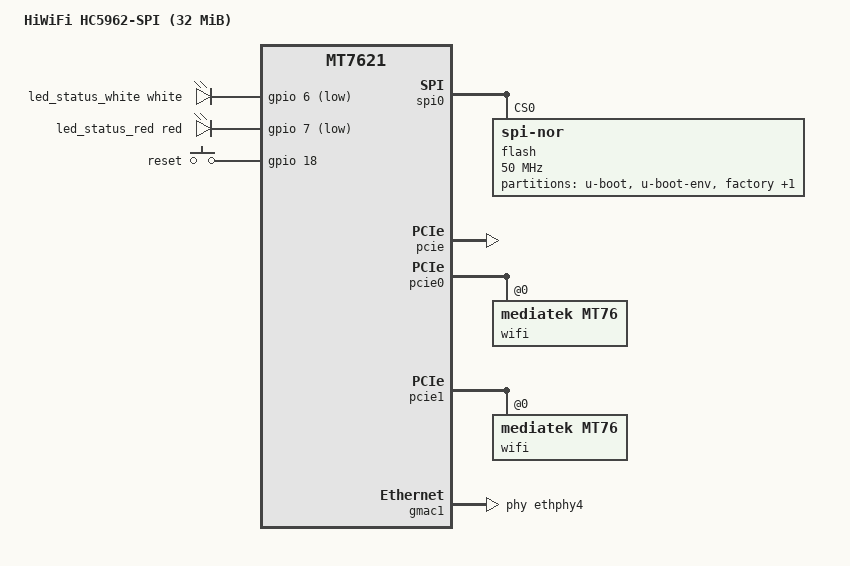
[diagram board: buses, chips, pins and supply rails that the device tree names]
/*
 * Derived from the official HC5962 DTS at OpenWrt commit
 * 5700101d7c85381889d890dc1d3d001d0b4b6446.
 *
 * Hardware validation is pending. This SPI-NOR conversion assumes a 32 MiB
 * flash with the existing bootloader at 0x0, environment at 0x30000, factory
 * data at 0x40000, and firmware at 0x50000. The factory EEPROM/MAC offsets
 * below follow the legacy HC5962 SPI port, not the original NAND layout.
 */

#include "mt7621.dtsi"

#include <dt-bindings/gpio/gpio.h>
#include <dt-bindings/input/input.h>
#include <dt-bindings/leds/common.h>

/ {
	compatible = "hiwifi,hc5962-spi", "mediatek,mt7621-soc";
	model = "HiWiFi HC5962-SPI (32 MiB)";

	aliases {
		label-mac-device = &gmac0;
		led-boot = &led_status_red;
		led-failsafe = &led_status_red;
		led-running = &led_status_white;
		led-upgrade = &led_status_white;
	};

	chosen {
		bootargs = "console=ttyS0,115200";
	};

	leds {
		compatible = "gpio-leds";

		led_status_white: led-0 {
			color = <LED_COLOR_ID_WHITE>;
			function = LED_FUNCTION_STATUS;
			gpios = <&gpio 6 GPIO_ACTIVE_LOW>;
		};

		led_status_red: led-1 {
			color = <LED_COLOR_ID_RED>;
			function = LED_FUNCTION_STATUS;
			gpios = <&gpio 7 GPIO_ACTIVE_LOW>;
			panic-indicator;
		};
	};

	keys {
		compatible = "gpio-keys";

		reset {
			label = "reset";
			gpios = <&gpio 18 GPIO_ACTIVE_HIGH>;
			linux,code = <KEY_RESTART>;
		};
	};
};

&nand {
	status = "disabled";
};

&spi0 {
	status = "okay";

	flash@0 {
		compatible = "jedec,spi-nor";
		reg = <0>;
		spi-max-frequency = <50000000>;
		broken-flash-reset;

		partitions {
			compatible = "fixed-partitions";
			#address-cells = <1>;
			#size-cells = <1>;

			partition@0 {
				label = "u-boot";
				reg = <0x0 0x30000>;
				read-only;
			};

			partition@30000 {
				label = "u-boot-env";
				reg = <0x30000 0x10000>;
				read-only;
			};

			partition@40000 {
				label = "factory";
				reg = <0x40000 0x10000>;
				read-only;

				nvmem-layout {
					compatible = "fixed-layout";
					#address-cells = <1>;
					#size-cells = <1>;

					eeprom_factory_0: eeprom@0 {
						reg = <0x0 0x400>;
					};

					eeprom_factory_8000: eeprom@8000 {
						reg = <0x8000 0x200>;
					};

					macaddr_factory_e000: macaddr@e000 {
						reg = <0xe000 0x6>;
					};

					macaddr_factory_e006: macaddr@e006 {
						reg = <0xe006 0x6>;
					};
				};
			};

			partition@50000 {
				compatible = "denx,uimage";
				label = "firmware";
				reg = <0x50000 0x1fb0000>;
			};
		};
	};
};

&pcie {
	status = "okay";
};

&pcie0 {
	wifi@0,0 {
		compatible = "mediatek,mt76";
		reg = <0x0000 0 0 0 0>;
		nvmem-cells = <&eeprom_factory_0>;
		nvmem-cell-names = "eeprom";
		ieee80211-freq-limit = <2400000 2500000>;
	};
};

&pcie1 {
	wifi@0,0 {
		compatible = "mediatek,mt76";
		reg = <0x0000 0 0 0 0>;
		nvmem-cells = <&eeprom_factory_8000>;
		nvmem-cell-names = "eeprom";
		ieee80211-freq-limit = <5000000 6000000>;
	};
};

&gmac0 {
	nvmem-cells = <&macaddr_factory_e000>;
	nvmem-cell-names = "mac-address";
};

&gmac1 {
	status = "okay";
	label = "wan";
	phy-handle = <&ethphy4>;

	nvmem-cells = <&macaddr_factory_e006>;
	nvmem-cell-names = "mac-address";
};

&ethphy4 {
	/delete-property/ interrupts;
};

&switch0 {
	ports {
		port@1 {
			status = "okay";
			label = "lan1";
		};

		port@2 {
			status = "okay";
			label = "lan2";
		};

		port@3 {
			status = "okay";
			label = "lan3";
		};
	};
};

&state_default {
	gpio {
		groups = "uart3", "jtag";
		function = "gpio";
	};
};
